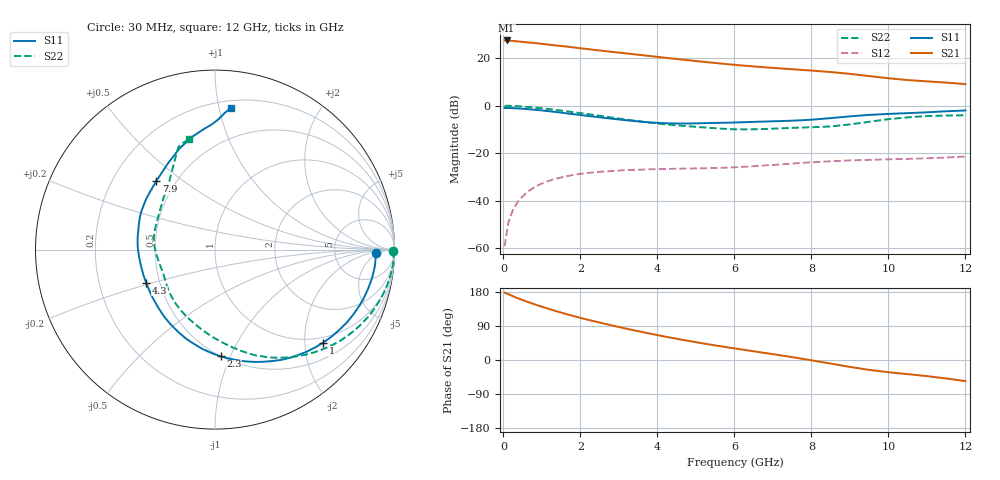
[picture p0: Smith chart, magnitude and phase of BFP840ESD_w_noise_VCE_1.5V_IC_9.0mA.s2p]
! Infineon Technologies  Discrete & RF Semiconductors
! BFP840ESD
! VCE =  1.5 V,  IC =  9.0 mA
! Common Emitter S-Parameters:  May 2012
# GHz  S  MA  R  50
!  f  S11  S21  S12  S22
! GHz  MAG  ANG  MAG  ANG  MAG  ANG  MAG  ANG
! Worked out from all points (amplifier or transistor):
!   93 points, 30 MHz to 12 GHz, reference 50 ohm
!   highest |S21| = 27.5 dB at 80 MHz (marker M1)
!   |S21| within 3 dB of that: start of sweep to 1.853 GHz
!   unconditionally stable (mu >= 1): 5.572 GHz to 9.861 GHz
!   at 1.1 GHz: K = 0.25, MSG = 29.0 dB, |S12| = -32.1 dB
!   at 4.2 GHz: K = 0.78, MSG = 23.4 dB, |S12| = -26.6 dB
!   at 12 GHz: K = 0.73, MSG = 15.3 dB, |S12| = -21.4 dB
!   lowest NFmin = 0.77 dB at 450 MHz
!   S11 on the Smith chart (normalised r, x): 30 MHz: 18, -3; 1 GHz: 0.86, -2.42; 2.3 GHz: 0.50, -0.92; 4.3 GHz: 0.42, -0.19; 7.9 GHz: 0.39, +0.40; 12 GHz: 0.25, +1.09
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0.03  0.8969 -1.1  23.65 177.8  0.0011 106.6  0.9893 -0.4
0.08  0.8961 -3.4  23.72 175.6  0.002 92.3  0.9964 -2.5
0.33  0.8809 -14.1  22.83 164.7  0.0083 78.3  0.9802 -11.5
0.5  0.8638 -21.1  22.15 158.0  0.0123 76.3  0.9598 -17.3
0.8  0.8236 -33.1  21.01 147.2  0.0193 67.8  0.916 -26.8
1  0.7945 -40.8  20.12 140.5  0.023 62.6  0.8821 -32.8
1.3  0.7474 -51.9  18.86 131.1  0.0281 55.7  0.8273 -41.4
1.6  0.697 -63.0  17.8 122.1  0.0323 49.8  0.7711 -49.5
2.1  0.6223 -80.1  15.9 108.6  0.0375 41.2  0.6823 -61.9
2.3  0.5952 -86.9  15.22 103.6  0.0391 38.4  0.6477 -66.5
2.8  0.5349 -103.6  13.7 91.7  0.0421 32.5  0.5664 -77.8
3.3  0.4848 -120.5  12.38 80.3  0.0443 27.8  0.4971 -89.5
3.7  0.4528 -134.1  11.39 71.8  0.0456 24.4  0.4509 -99.4
4.1  0.4313 -147.8  10.47 63.7  0.0463 22.0  0.4145 -109.8
4.3  0.4258 -154.4  10.06 59.8  0.0467 20.7  0.3998 -114.9
5.2  0.4289 179.9  8.418 43.5  0.0482 17.9  0.3495 -136.0
6.1  0.4454 162.4  7.158 29.2  0.0509 17.5  0.3182 -156.1
7.9  0.503 130.6  5.583 0.9  0.0636 12.0  0.3506 165.1
8.5  0.5476 118.6  5.12 -9.4  0.0676 8.6  0.3663 149.6
9.5  0.6413 101.4  4.214 -26.0  0.0724 1.6  0.4589 123.7
10.5  0.6979 91.4  3.473 -37.3  0.0759 -3.9  0.5693 112.4
12  0.7946 83.5  2.857 -55.7  0.085 -10.3  0.63 103.1
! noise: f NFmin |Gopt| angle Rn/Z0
0.45  0.77  0.3  2  0.14
0.9  0.78  0.3  5  0.14
1.5  0.79  0.3  11  0.13
1.9  0.8  0.3  15  0.13
2.4  0.81  0.25  26  0.12
3.5  0.82  0.17  58  0.1
5.5  0.9  0.11  136  0.1
8  1.05  0.3  -130  0.1
10  1.2  0.46  -91  0.18
12  1.41  0.6  -72  0.27
